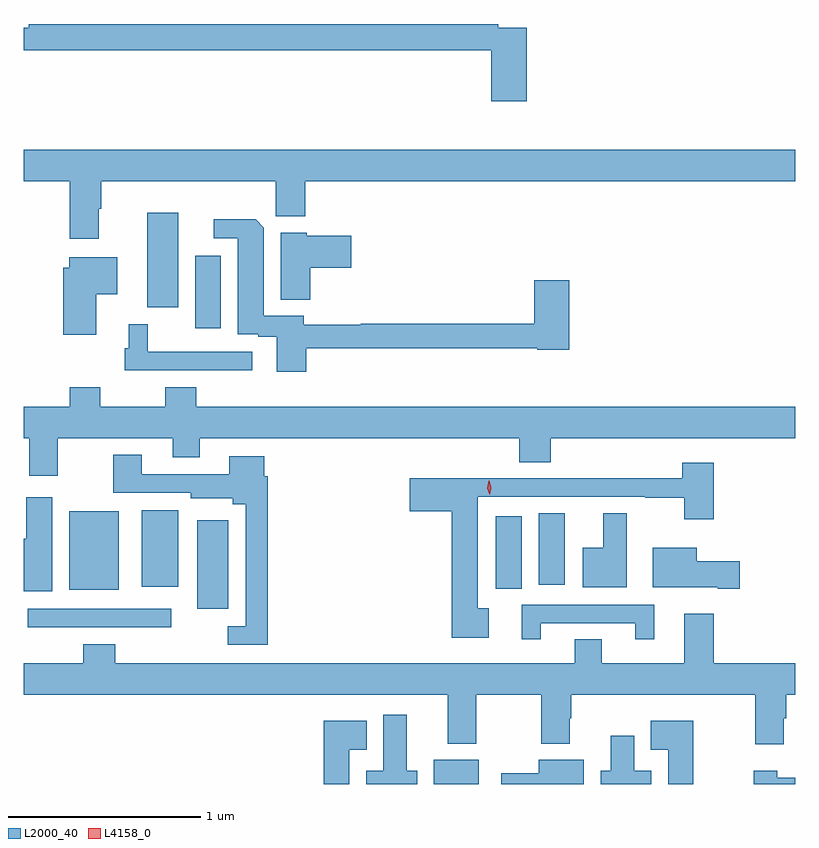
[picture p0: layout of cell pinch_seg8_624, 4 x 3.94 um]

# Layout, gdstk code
import gdstk
lib = gdstk.Library(unit=1e-6, precision=1e-09)
def R(c, l, rs):  # rectangles x0, y0, x1, y1
    for r in rs: c.add(gdstk.rectangle(r[:2], r[2:], *l))
def P(c, l, *ps):  # polygons
    for p in ps: c.add(gdstk.Polygon(p, *l))
L2000_40 = (2000, 40)
L4158_0 = (4158, 0)

pinch_seg8_624 = lib.new_cell('pinch_seg8_624')
R(pinch_seg8_624, L2000_40, [(278.033,1117.37,278.266,1117.495), (275.925,1118.184,276.67,1118.28), (276.806,1118.279,276.967,1118.737), (276.14,1118.378,276.397,1118.785), (278.354,1118.382,278.488,1118.758), (276.518,1118.393,276.706,1118.791), (278.576,1118.403,278.71,1118.774), (276.794,1119.735,276.928,1120.111), (276.545,1119.843,276.706,1120.333)])
P(pinch_seg8_624, L2000_40, [(278.513,1121.292),(278.366,1121.292),(278.366,1121.312),(275.932,1121.312),(275.932,1121.292),(275.906,1121.292),(275.906,1121.176),(278.33,1121.176),(278.33,1120.911),(278.513,1120.911)],
  [(276.295,1120.355),(276.308,1120.355),(276.308,1120.496),(277.213,1120.496),(277.213,1120.314),(277.364,1120.314),(277.364,1120.496),(279.906,1120.496),(279.906,1120.66),(275.906,1120.66),(275.906,1120.496),(276.143,1120.496),(276.143,1120.197),(276.295,1120.197)],
  [(277.37,1119.63),(278.568,1119.63),(278.568,1119.622),(278.735,1119.622),(278.735,1119.982),(278.552,1119.982),(278.552,1119.758),(277.653,1119.758),(277.653,1119.751),(277.357,1119.751),(277.357,1119.798),(277.15,1119.798),(277.15,1120.256),(277.108,1120.298),(276.891,1120.298),(276.891,1120.2),(277.016,1120.2),(277.016,1119.702),(277.121,1119.702),(277.121,1119.69),(277.217,1119.69),(277.217,1119.507),(277.37,1119.507)],
  [(277.391,1120.048),(277.603,1120.048),(277.603,1120.213),(277.374,1120.213),(277.374,1120.228),(277.238,1120.228),(277.238,1119.883),(277.391,1119.883)],
  [(276.28,1119.911),(276.391,1119.911),(276.391,1120.102),(276.14,1120.102),(276.14,1120.047),(276.11,1120.047),(276.11,1119.699),(276.28,1119.699)],
  [(277.09,1119.612),(276.549,1119.612),(276.549,1119.754),(276.449,1119.754),(276.449,1119.63),(276.43,1119.63),(276.43,1119.516),(277.09,1119.516)],
  [(276.081,1119.164),(276.677,1119.164),(276.677,1119.065),(276.817,1119.065),(276.817,1119.164),(278.474,1119.164),(278.474,1119.04),(278.639,1119.04),(278.639,1119.164),(279.906,1119.164),(279.906,1119.328),(276.8,1119.328),(276.8,1119.427),(276.64,1119.427),(276.64,1119.328),(276.303,1119.328),(276.303,1119.427),(276.143,1119.427),(276.143,1119.328),(275.906,1119.328),(275.906,1119.164),(275.933,1119.164),(275.933,1118.97),(276.081,1118.97)],
  [(277.172,1118.966),(277.153,1118.966),(277.153,1119.07),(276.971,1119.07),(276.971,1118.976),(276.517,1118.976),(276.517,1119.079),(276.37,1119.079),(276.37,1118.88),(276.771,1118.88),(276.771,1118.852),(276.99,1118.852),(276.99,1118.822),(277.056,1118.822),(277.056,1118.188),(276.963,1118.188),(276.963,1118.091),(277.172,1118.091)],
  [(278.317,1118.282),(278.26,1118.282),(278.26,1118.859),(279.13,1118.859),(279.13,1118.854),(279.332,1118.854),(279.332,1118.742),(279.485,1118.742),(279.485,1119.037),(279.32,1119.037),(279.32,1118.957),(278.722,1118.957),(278.722,1118.955),(278.356,1118.955),(278.356,1118.957),(277.908,1118.957),(277.908,1118.786),(278.126,1118.786),(278.126,1118.129),(278.317,1118.129)],
  [(276.052,1118.857),(275.918,1118.857),(275.918,1118.641),(275.906,1118.641),(275.906,1118.369),(276.052,1118.369)],
  [(279.034,1118.774),(278.912,1118.774),(278.912,1118.596),(278.804,1118.596),(278.804,1118.39),(279.034,1118.39)],
  [(279.619,1118.525),(279.397,1118.525),(279.397,1118.596),(279.167,1118.596),(279.167,1118.39),(279.506,1118.39),(279.506,1118.383),(279.619,1118.383)],
  [(278.587,1118.205),(279.077,1118.205),(279.077,1118.121),(279.175,1118.121),(279.175,1118.301),(278.489,1118.301),(278.489,1118.121),(278.587,1118.121)],
  [(279.847,1117.712),(279.86,1117.712),(279.86,1117.832),(279.906,1117.832),(279.906,1117.996),(279.485,1117.996),(279.485,1118.254),(279.332,1118.254),(279.332,1117.996),(278.902,1117.996),(278.902,1118.12),(278.762,1118.12),(278.762,1117.996),(276.38,1117.996),(276.38,1118.095),(276.215,1118.095),(276.215,1117.996),(275.906,1117.996),(275.906,1117.832),(278.105,1117.832),(278.105,1117.58),(278.253,1117.58),(278.253,1117.832),(278.59,1117.832),(278.59,1117.58),(278.737,1117.58),(278.737,1117.712),(278.745,1117.712),(278.745,1117.832),(279.7,1117.832),(279.7,1117.575),(279.847,1117.575)],
  [(277.945,1117.438),(277.891,1117.438),(277.891,1117.729),(277.769,1117.729),(277.769,1117.438),(277.682,1117.438),(277.682,1117.37),(277.945,1117.37)],
  [(279.378,1117.699),(279.158,1117.699),(279.158,1117.547),(279.248,1117.547),(279.248,1117.37),(279.378,1117.37)],
  [(277.594,1117.547),(277.684,1117.547),(277.684,1117.699),(277.46,1117.699),(277.46,1117.37),(277.594,1117.37)],
  [(279.16,1117.438),(279.073,1117.438),(279.073,1117.621),(278.951,1117.621),(278.951,1117.438),(278.897,1117.438),(278.897,1117.37),(279.16,1117.37)],
  [(278.809,1117.495),(278.576,1117.495),(278.576,1117.425),(278.382,1117.425),(278.382,1117.37),(278.809,1117.37)],
  [(279.906,1117.402),(279.814,1117.402),(279.814,1117.438),(279.692,1117.438),(279.692,1117.37),(279.906,1117.37)])
P(pinch_seg8_624, L4158_0, [(278.321,1118.87),(278.321,1118.87),(278.31,1118.905),(278.318,1118.942),(278.318,1118.942),(278.319,1118.942),(278.33,1118.906),(278.321,1118.87)])

lib.write_gds('pinch_seg8_624.gds')
